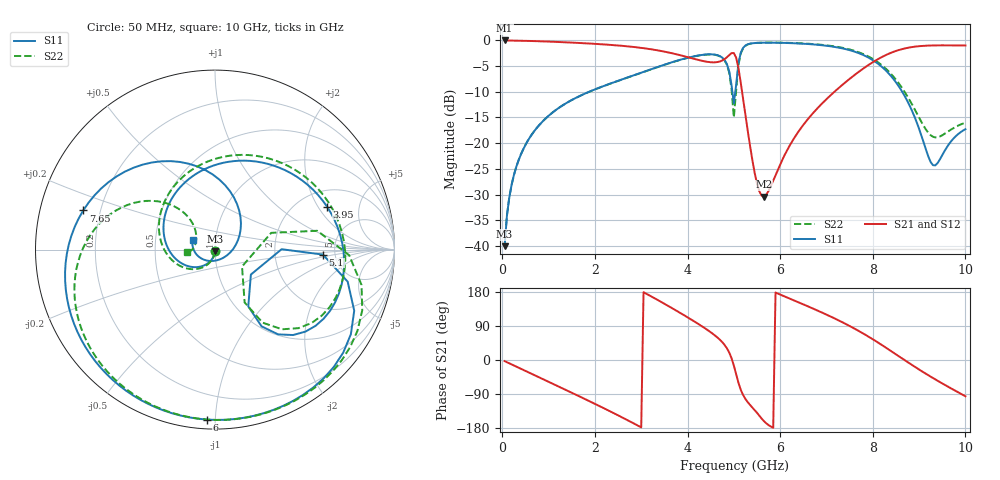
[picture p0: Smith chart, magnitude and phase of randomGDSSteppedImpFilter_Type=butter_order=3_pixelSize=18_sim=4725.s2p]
! freq	dB(S11)	phase(S11)	dB(S12)	phase(S12)
!  dB(S21)	phase(S21)	dB(S22)	phase(S22)
!S-par simulation data
#  GHz  S  DB  R 50
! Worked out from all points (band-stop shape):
!   200 points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, 50 MHz to 10 GHz, reference 50 ohm
!   highest |S21| = -0.01 dB at 50 MHz (marker M1); lowest = -30.4 dB at 5.65 GHz (marker M2)
!   |S21| within 3 dB of the highest: start of sweep to 3.899 GHz; 8.245 GHz to end of sweep (the widest 2 of 3)
!   lowest |S11| = -40.0 dB at 50 MHz (marker M3), VSWR 1.02, Z = 50 - j0.993 ohm
!   |S11| at or under -10 dB: start of sweep to 1.874 GHz; 4.968 GHz to 5.031 GHz (62.89 MHz wide, 1.26 % of centre); 8.636 GHz to end of sweep
!   |S22| runs from -40.0 to -0.4 dB; largest |S21 - S12| = 0
!   S11 on the Smith chart (normalised r, x): 50 MHz: 1.00, -0.02; 3.95 GHz: 2.79, +2.41; 5.1 GHz: 3.99, -0.35; 6 GHz: 0.05, -0.95; 7.65 GHz: 0.14, +0.14; 10 GHz: 0.77, +0.09
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0.05  -40.04 -92.1  -0.01 -2.9  -0.01 -2.9  -40.04 -91.7
0.2  -28.15 -102.2  -0.03 -11.6  -0.03 -11.6  -28.14 -100.8
0.5  -20.34 -121.0  -0.08 -28.8  -0.08 -28.8  -20.33 -117.6
1.15  -13.58 -160.8  -0.28 -66.2  -0.28 -66.2  -13.58 -153.1
1.75  -10.49 162.6  -0.54 -101.0  -0.54 -101.0  -10.49 173.7
2.65  -7.38 107.0  -1.10 -155.4  -1.10 -155.4  -7.40 120.4
3.4  -5.03 58.5  -2.00 155.4  -2.00 155.4  -5.05 70.4
3.95  -3.50 21.0  -3.13 116.4  -3.13 116.4  -3.52 30.4
4.45  -2.71 -15.7  -4.20 77.6  -4.20 77.6  -2.73 -8.7
4.8  -3.81 -47.6  -3.64 39.7  -3.64 39.7  -3.89 -43.2
5  -12.27 -34.8  -2.46 -14.6  -2.46 -14.6  -15.01 -32.0
5.05  -8.61 0.3  -3.35 -37.8  -3.35 -37.8  -9.71 16.6
5.1  -4.41 -2.6  -5.41 -60.3  -5.41 -60.3  -4.74 10.4
5.25  -0.99 -32.0  -14.52 -102.8  -14.52 -102.8  -1.04 -22.4
5.65  -0.44 -70.1  -30.41 -161.3  -30.41 -161.3  -0.43 -61.7
6  -0.46 -92.8  -24.14 172.6  -24.14 172.6  -0.43 -83.8
6.7  -0.76 -134.0  -14.25 136.3  -14.25 136.3  -0.70 -121.3
7.65  -2.32 163.5  -6.43 79.9  -6.43 79.9  -2.15 -171.9
8.35  -6.49 102.0  -2.57 27.3  -2.57 27.3  -6.10 147.3
8.8  -12.77 51.8  -1.36 -9.4  -1.36 -9.4  -11.68 129.9
9.3  -24.28 -62.5  -0.98 -47.6  -0.98 -47.6  -18.75 156.3
10  -17.28 156.3  -0.99 -95.7  -0.99 -95.7  -16.01 -174.7
